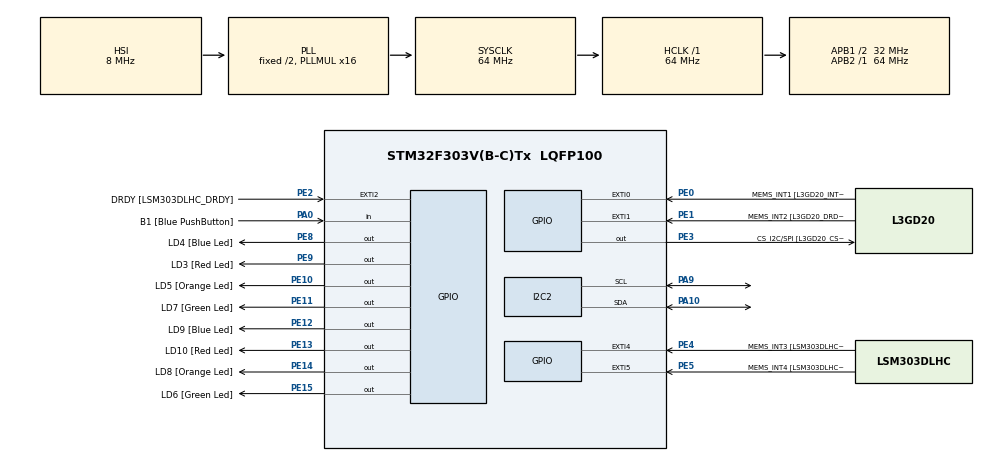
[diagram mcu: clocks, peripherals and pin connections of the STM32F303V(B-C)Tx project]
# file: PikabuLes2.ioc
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ADC1.Channel-0\#ChannelRegularConversion=ADC_CHANNEL_VREFINT
ADC1.ClockPrescaler=ADC_CLOCK_ASYNC_DIV1
ADC1.ContinuousConvMode=ENABLE
ADC1.DMAContinuousRequests=DISABLE
ADC1.DataAlign=ADC_DATAALIGN_RIGHT
ADC1.DiscontinuousConvMode=DISABLE
ADC1.EOCSelection=ADC_EOC_SINGLE_CONV
ADC1.EnableAnalogWatchDog1=false
ADC1.EnableAnalogWatchDog2=false
ADC1.EnableAnalogWatchDog3=false
ADC1.EnableInjectedConversion=DISABLE
ADC1.EnableRegularConversion=ENABLE
ADC1.ExternalTrigConv=ADC_SOFTWARE_START
ADC1.ExternalTrigConvEdge=ADC_EXTERNALTRIGCONVEDGE_NONE
ADC1.LowPowerAutoWait=DISABLE
ADC1.NbrOfConversion=1
ADC1.NbrOfConversionFlag=1
ADC1.Offset-0\#ChannelRegularConversion=0
ADC1.OffsetNumber-0\#ChannelRegularConversion=ADC_OFFSET_NONE
ADC1.Overrun=ADC_OVR_DATA_OVERWRITTEN
ADC1.Rank-0\#ChannelRegularConversion=1
ADC1.Resolution=ADC_RESOLUTION_12B
ADC1.SamplingTime-0\#ChannelRegularConversion=ADC_SAMPLETIME_61CYCLES_5
ADC1.ScanConvMode=ADC_SCAN_DISABLE
ADC1.master=1
Dma.ADC1.0.Direction=DMA_PERIPH_TO_MEMORY
Dma.ADC1.0.Instance=DMA1_Channel1
Dma.ADC1.0.MemDataAlignment=DMA_MDATAALIGN_HALFWORD
Dma.ADC1.0.MemInc=DMA_MINC_ENABLE
Dma.ADC1.0.Mode=DMA_CIRCULAR
Dma.ADC1.0.PeriphDataAlignment=DMA_PDATAALIGN_HALFWORD
Dma.ADC1.0.PeriphInc=DMA_PINC_DISABLE
Dma.ADC1.0.Priority=DMA_PRIORITY_MEDIUM
Dma.I2C2_RX.2.Direction=DMA_PERIPH_TO_MEMORY
Dma.I2C2_RX.2.Instance=DMA1_Channel5
Dma.I2C2_RX.2.MemDataAlignment=DMA_MDATAALIGN_BYTE
Dma.I2C2_RX.2.MemInc=DMA_MINC_ENABLE
Dma.I2C2_RX.2.Mode=DMA_NORMAL
Dma.I2C2_RX.2.PeriphDataAlignment=DMA_PDATAALIGN_BYTE
Dma.I2C2_RX.2.PeriphInc=DMA_PINC_DISABLE
Dma.I2C2_RX.2.Priority=DMA_PRIORITY_LOW
Dma.I2C2_TX.1.Direction=DMA_MEMORY_TO_PERIPH
Dma.I2C2_TX.1.Instance=DMA1_Channel4
Dma.I2C2_TX.1.MemDataAlignment=DMA_MDATAALIGN_BYTE
Dma.I2C2_TX.1.MemInc=DMA_MINC_ENABLE
Dma.I2C2_TX.1.Mode=DMA_NORMAL
Dma.I2C2_TX.1.PeriphDataAlignment=DMA_PDATAALIGN_BYTE
Dma.I2C2_TX.1.PeriphInc=DMA_PINC_DISABLE
Dma.I2C2_TX.1.Priority=DMA_PRIORITY_LOW
Dma.Request0=ADC1
Dma.Request1=I2C2_TX
Dma.Request2=I2C2_RX
FREERTOS.INCLUDE_vTaskDelayUntil=1
FREERTOS.Tasks01=defaultTask,0,128,StartDefaultTask,Default,NULL,Dynamic,NULL,NULL;lcdTask,1,128,StartLcdTask,Default,NULL,Dynamic,NULL,NULL
FREERTOS.configTOTAL_HEAP_SIZE=4096
Mcu.Family=STM32F3
Mcu.Name=STM32F303V(B-C)Tx
Mcu.Package=LQFP100
NVIC.DMA1_Channel1_IRQn=true\:5\:0\:false\:false\:true\:true\:false
NVIC.DMA1_Channel4_IRQn=true\:0\:0\:false\:false\:true\:false\:false
NVIC.DMA1_Channel5_IRQn=true\:0\:0\:false\:false\:true\:false\:false
NVIC.I2C2_ER_IRQn=true\:0\:0\:false\:false\:true\:false\:true
NVIC.I2C2_EV_IRQn=true\:0\:0\:false\:false\:true\:false\:true
NVIC.PriorityGroup=NVIC_PRIORITYGROUP_4
NVIC.TIM1_TRG_COM_TIM17_IRQn=true\:0\:0\:false\:false\:true\:false\:false
NVIC.TimeBase=TIM1_TRG_COM_TIM17_IRQn
NVIC.TimeBaseIP=TIM17
PA0.GPIO_Label=B1 [Blue PushButton]
PA0.GPIO_Mode=GPIO_MODE_INPUT
PA0.GPIO_PuPd=GPIO_NOPULL
PA0.Signal=GPIO_Input
PA10.Mode=I2C
PA10.Signal=I2C2_SDA
PA11.GPIO_Label=DM
PA11.Signal=USB_DM
PA12.GPIO_Label=DP
PA12.Signal=USB_DP
PA13.GPIO_Label=SWDIO
PA13.Mode=Trace_Asynchronous_SW
PA13.Signal=SYS_JTMS-SWDIO
PA14.GPIO_Label=SWCLK
PA14.Mode=Trace_Asynchronous_SW
PA14.Signal=SYS_JTCK-SWCLK
PA5.GPIO_Label=SPI1_SCK [L3GD20_SCL/SPC]
PA5.GPIO_Mode=GPIO_MODE_AF_PP
PA5.GPIO_PuPd=GPIO_NOPULL
PA5.GPIO_Speed=GPIO_SPEED_FREQ_LOW
PA5.Signal=SPI1_SCK
PA6.GPIO_Label=SPI1_MISO [L3GD20_SA0/SDO]
PA6.GPIO_Mode=GPIO_MODE_AF_PP
PA6.GPIO_PuPd=GPIO_NOPULL
PA6.GPIO_Speed=GPIO_SPEED_FREQ_LOW
PA6.Signal=SPI1_MISO
PA7.GPIO_Label=SPI1_MISO [L3GD20_SDA/SDI/SDO]
PA7.GPIO_Mode=GPIO_MODE_AF_PP
PA7.GPIO_PuPd=GPIO_NOPULL
PA7.GPIO_Speed=GPIO_SPEED_FREQ_LOW
PA7.Signal=SPI1_MOSI
PA9.Mode=I2C
PA9.Signal=I2C2_SCL
PB3.GPIO_Label=SWO
PB3.Mode=Trace_Asynchronous_SW
PB3.Signal=SYS_JTDO-TRACESWO
PB6.GPIO_FM6=__NULL
PB6.GPIO_Label=I2C1_SCL [LSM303DLHC_SCL]
PB6.GPIO_Mode=GPIO_MODE_AF_OD
PB6.GPIO_PuPd=GPIO_NOPULL
PB6.GPIO_Speed=GPIO_SPEED_FREQ_LOW
PB6.Signal=I2C1_SCL
PB7.GPIO_FM7=__NULL
PB7.GPIO_Label=I2C1_SDA [LSM303DLHC_SDA]
PB7.GPIO_Mode=GPIO_MODE_AF_OD
PB7.GPIO_PuPd=GPIO_NOPULL
PB7.GPIO_Speed=GPIO_SPEED_FREQ_LOW
PB7.Signal=I2C1_SDA
PC14-OSC32_IN.GPIO_Label=OSC32_IN
PC14-OSC32_IN.Signal=RCC_OSC32_IN
PC15-OSC32_OUT.GPIO_Label=OSC32_OUT
PC15-OSC32_OUT.Signal=RCC_OSC32_OUT
PE0.GPIO_Label=MEMS_INT1 [L3GD20_INT1]
PE0.GPIO_ModeDefaultEXTI=GPIO_MODE_EVT_RISING
PE0.GPIO_PuPd=GPIO_NOPULL
PE0.Signal=GPXTI0
PE1.GPIO_Label=MEMS_INT2 [L3GD20_DRDY/INT2]
PE1.GPIO_ModeDefaultEXTI=GPIO_MODE_EVT_RISING
PE1.GPIO_PuPd=GPIO_NOPULL
PE1.Signal=GPXTI1
PE10.GPIO_Label=LD5 [Orange Led]
PE10.GPIO_ModeDefaultOutputPP=GPIO_MODE_OUTPUT_PP
PE10.GPIO_PuPd=GPIO_NOPULL
PE10.GPIO_Speed=GPIO_SPEED_FREQ_LOW
PE10.Signal=GPIO_Output
PE11.GPIO_Label=LD7 [Green Led]
PE11.GPIO_ModeDefaultOutputPP=GPIO_MODE_OUTPUT_PP
PE11.GPIO_PuPd=GPIO_NOPULL
PE11.GPIO_Speed=GPIO_SPEED_FREQ_LOW
PE11.Signal=GPIO_Output
PE12.GPIO_Label=LD9 [Blue Led]
PE12.GPIO_ModeDefaultOutputPP=GPIO_MODE_OUTPUT_PP
PE12.GPIO_PuPd=GPIO_NOPULL
PE12.GPIO_Speed=GPIO_SPEED_FREQ_LOW
PE12.Signal=GPIO_Output
PE13.GPIO_Label=LD10 [Red Led]
PE13.GPIO_ModeDefaultOutputPP=GPIO_MODE_OUTPUT_PP
PE13.GPIO_PuPd=GPIO_NOPULL
PE13.GPIO_Speed=GPIO_SPEED_FREQ_LOW
PE13.Signal=GPIO_Output
PE14.GPIO_Label=LD8 [Orange Led]
PE14.GPIO_ModeDefaultOutputPP=GPIO_MODE_OUTPUT_PP
PE14.GPIO_PuPd=GPIO_NOPULL
PE14.GPIO_Speed=GPIO_SPEED_FREQ_LOW
PE14.Signal=GPIO_Output
PE15.GPIO_Label=LD6 [Green Led]
PE15.GPIO_ModeDefaultOutputPP=GPIO_MODE_OUTPUT_PP
PE15.GPIO_PuPd=GPIO_NOPULL
PE15.GPIO_Speed=GPIO_SPEED_FREQ_LOW
PE15.Signal=GPIO_Output
PE2.GPIO_Label=DRDY [LSM303DLHC_DRDY]
PE2.GPIO_ModeDefaultEXTI=GPIO_MODE_EVT_RISING
PE2.GPIO_PuPd=GPIO_NOPULL
PE2.Signal=GPXTI2
PE3.GPIO_Label=CS_I2C/SPI [L3GD20_CS_I2C/SPI]
PE3.GPIO_ModeDefaultOutputPP=GPIO_MODE_OUTPUT_PP
PE3.GPIO_PuPd=GPIO_NOPULL
PE3.GPIO_Speed=GPIO_SPEED_FREQ_LOW
PE3.Signal=GPIO_Output
PE4.GPIO_Label=MEMS_INT3 [LSM303DLHC_INT1]
PE4.GPIO_ModeDefaultEXTI=GPIO_MODE_EVT_RISING
PE4.GPIO_PuPd=GPIO_NOPULL
PE4.Signal=GPXTI4
PE5.GPIO_Label=MEMS_INT4 [LSM303DLHC_INT2]
PE5.GPIO_ModeDefaultEXTI=GPIO_MODE_EVT_RISING
PE5.GPIO_PuPd=GPIO_NOPULL
PE5.Signal=GPXTI5
PE8.GPIO_Label=LD4 [Blue Led]
PE8.GPIO_ModeDefaultOutputPP=GPIO_MODE_OUTPUT_PP
PE8.GPIO_PuPd=GPIO_NOPULL
PE8.GPIO_Speed=GPIO_SPEED_FREQ_LOW
PE8.Signal=GPIO_Output
PE9.GPIO_Label=LD3 [Red Led]
PE9.GPIO_ModeDefaultOutputPP=GPIO_MODE_OUTPUT_PP
PE9.GPIO_PuPd=GPIO_NOPULL
PE9.GPIO_Speed=GPIO_SPEED_FREQ_LOW
PE9.Signal=GPIO_Output
PF0-OSC_IN.GPIO_Label=OSC_IN
PF0-OSC_IN.Signal=RCC_OSC_IN
PF1-OSC_OUT.GPIO_Label=OSC_OUT
PF1-OSC_OUT.Signal=RCC_OSC_OUT
ProjectManager.HeapSize=0x200
ProjectManager.StackSize=0x400
ProjectManager.TargetToolchain=SW4STM32
RCC.AHBFreq_Value=64000000
RCC.APB1CLKDivider=RCC_HCLK_DIV2
RCC.APB1Freq_Value=32000000
RCC.APB1TimFreq_Value=64000000
RCC.APB2Freq_Value=64000000
RCC.APB2TimFreq_Value=64000000
RCC.CortexFreq_Value=64000000
RCC.HCLKFreq_Value=64000000
RCC.HSE_VALUE=8000000
RCC.HSI_VALUE=8000000
RCC.LSE_VALUE=32768
RCC.PLLMUL=RCC_PLL_MUL16
RCC.SYSCLKFreq_VALUE=64000000
RCC.SYSCLKSourceVirtual=RCC_SYSCLKSOURCE_PLLCLK
RCC.USBFreq_Value=64000000
VP_ADC1_Vref_Input.Mode=IN-Vrefint
VP_FREERTOS_VS_ENABLE.Mode=Enabled
VP_SYS_VS_tim17.Mode=TIM17
board=STM32F3DISCOVERY

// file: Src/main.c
/**
  ******************************************************************************
  * File Name          : main.c
  * Description        : Main program body
  ******************************************************************************
  * This notice applies to any and all portions of this file
  * that are not between comment pairs USER CODE BEGIN and
  * USER CODE END. Other portions of this file, whether
  * inserted by the user or by software development tools
  * are owned by their respective copyright owners.
  *
  * Copyright (c) 2017 STMicroelectronics International N.V.
  * All rights reserved.
  *
  * Redistribution and use in source and binary forms, with or without
  * modification, are permitted, provided that the following conditions are met:
  *
  * 1. Redistribution of source code must retain the above copyright notice,
  *    this list of conditions and the following disclaimer.
  * 2. Redistributions in binary form must reproduce the above copyright notice,
  *    this list of conditions and the following disclaimer in the documentation
  *    and/or other materials provided with the distribution.
  * 3. Neither the name of STMicroelectronics nor the names of other
  *    contributors to this software may be used to endorse or promote products
  *    derived from this software without specific written permission.
  * 4. This software, including modifications and/or derivative works of this
  *    software, must execute solely and exclusively on microcontroller or
  *    microprocessor devices manufactured by or for STMicroelectronics.
  * 5. Redistribution and use of this software other than as permitted under
  *    this license is void and will automatically terminate your rights under
  *    this license.
  *
  * THIS SOFTWARE IS PROVIDED BY STMICROELECTRONICS AND CONTRIBUTORS "AS IS"
  * AND ANY EXPRESS, IMPLIED OR STATUTORY WARRANTIES, INCLUDING, BUT NOT
  * LIMITED TO, THE IMPLIED WARRANTIES OF MERCHANTABILITY, FITNESS FOR A
  * PARTICULAR PURPOSE AND NON-INFRINGEMENT OF THIRD PARTY INTELLECTUAL PROPERTY
  * RIGHTS ARE DISCLAIMED TO THE FULLEST EXTENT PERMITTED BY LAW. IN NO EVENT
  * SHALL STMICROELECTRONICS OR CONTRIBUTORS BE LIABLE FOR ANY DIRECT, INDIRECT,
  * INCIDENTAL, SPECIAL, EXEMPLARY, OR CONSEQUENTIAL DAMAGES (INCLUDING, BUT NOT
  * LIMITED TO, PROCUREMENT OF SUBSTITUTE GOODS OR SERVICES; LOSS OF USE, DATA,
  * OR PROFITS; OR BUSINESS INTERRUPTION) HOWEVER CAUSED AND ON ANY THEORY OF
  * LIABILITY, WHETHER IN CONTRACT, STRICT LIABILITY, OR TORT (INCLUDING
  * NEGLIGENCE OR OTHERWISE) ARISING IN ANY WAY OUT OF THE USE OF THIS SOFTWARE,
  * EVEN IF ADVISED OF THE POSSIBILITY OF SUCH DAMAGE.
  *
  ******************************************************************************
  */

#include "main.h"
#include "stm32f3xx_hal.h"
#include "cmsis_os.h"

/* USER CODE BEGIN Includes */
#include <string.h>
#include <math.h>
#include "lcd_hd44780_i2c.h"
/* USER CODE END Includes */

ADC_HandleTypeDef hadc1;
DMA_HandleTypeDef hdma_adc1;

I2C_HandleTypeDef hi2c2;
DMA_HandleTypeDef hdma_i2c2_tx;
DMA_HandleTypeDef hdma_i2c2_rx;

osThreadId defaultTaskHandle;
osThreadId lcdTaskHandle;

/* USER CODE BEGIN PV */
uint8_t symD[8]   = { 0x07, 0x09, 0x09, 0x09, 0x09, 0x1F, 0x11 }; // Д
uint8_t symZH[8]  = { 0x11, 0x15, 0x15, 0x0E, 0x15, 0x15, 0x11 }; // Ж
uint8_t symI[8]   = { 0x11, 0x11, 0x13, 0x15, 0x19, 0x11, 0x11 }; // И
uint8_t symL[8]   = { 0x0F, 0x09, 0x09, 0x09, 0x09, 0x11, 0x11 }; // Л
uint8_t symP[8]   = { 0x1F, 0x11, 0x11, 0x11, 0x11, 0x11, 0x11 }; // П
uint8_t symSHi[8] = { 0x10, 0x15, 0x15, 0x15, 0x15, 0x1F, 0x03 }; // Щ
uint8_t symJU[8]  = { 0x12, 0x15, 0x15, 0x1D, 0x15, 0x15, 0x12 }; // Ю
uint8_t symJA[8]  = { 0x0F, 0x11, 0x11, 0x0F, 0x05, 0x09, 0x11 }; // Я

/* ADC */
__IO uint16_t ADC1_Values[1];

// Параметры ADC из даташита
float Vrefint = 1.23;

// Переменная, где будем хранить значение VRef
float Vref = 0.0;

/* USER CODE END PV */

void SystemClock_Config(void);
static void MX_GPIO_Init(void);
static void MX_DMA_Init(void);
static void MX_I2C2_Init(void);
static void MX_ADC1_Init(void);
void StartDefaultTask(void const * argument);
void StartLcdTask(void const * argument);

/* USER CODE BEGIN PFP */
/* Private function prototypes -----------------------------------------------*/

/* USER CODE END PFP */

int main(void) {

    /* MCU Configuration----------------------------------------------------------*/

    /* Reset of all peripherals, Initializes the Flash interface and the Systick. */
    HAL_Init();

    /* Configure the system clock */
    SystemClock_Config();

    /* Initialize all configured peripherals */
    MX_GPIO_Init();
    MX_DMA_Init();
    MX_I2C2_Init();
    MX_ADC1_Init();

    /* Create the thread(s) */
    /* definition and creation of defaultTask */
    osThreadDef(defaultTask, StartDefaultTask, osPriorityNormal, 0, 128);
    defaultTaskHandle = osThreadCreate(osThread(defaultTask), NULL);

    /* definition and creation of lcdTask */
    osThreadDef(lcdTask, StartLcdTask, osPriorityAboveNormal, 0, 128);
    lcdTaskHandle = osThreadCreate(osThread(lcdTask), NULL);

    /* Start scheduler */
    osKernelStart();

    /* We should never get here as control is now taken by the scheduler */

    /* Infinite loop */
    while (1) {

    }

}

/** System Clock Configuration
*/
void SystemClock_Config(void) {

    RCC_OscInitTypeDef RCC_OscInitStruct;
    RCC_ClkInitTypeDef RCC_ClkInitStruct;
    RCC_PeriphCLKInitTypeDef PeriphClkInit;

    /**Initializes the CPU, AHB and APB busses clocks
    */
    RCC_OscInitStruct.OscillatorType = RCC_OSCILLATORTYPE_HSI;
    RCC_OscInitStruct.HSIState = RCC_HSI_ON;
    RCC_OscInitStruct.HSICalibrationValue = 16;
    RCC_OscInitStruct.PLL.PLLState = RCC_PLL_ON;
    RCC_OscInitStruct.PLL.PLLSource = RCC_PLLSOURCE_HSI;
    RCC_OscInitStruct.PLL.PLLMUL = RCC_PLL_MUL16;

    if (HAL_RCC_OscConfig(&RCC_OscInitStruct) != HAL_OK) {
        _Error_Handler(__FILE__, __LINE__);
    }

    /**Initializes the CPU, AHB and APB busses clocks
    */
    RCC_ClkInitStruct.ClockType = RCC_CLOCKTYPE_HCLK | RCC_CLOCKTYPE_SYSCLK
                                  | RCC_CLOCKTYPE_PCLK1 | RCC_CLOCKTYPE_PCLK2;
    RCC_ClkInitStruct.SYSCLKSource = RCC_SYSCLKSOURCE_PLLCLK;
    RCC_ClkInitStruct.AHBCLKDivider = RCC_SYSCLK_DIV1;
    RCC_ClkInitStruct.APB1CLKDivider = RCC_HCLK_DIV2;
    RCC_ClkInitStruct.APB2CLKDivider = RCC_HCLK_DIV1;

    if (HAL_RCC_ClockConfig(&RCC_ClkInitStruct, FLASH_LATENCY_2) != HAL_OK) {
        _Error_Handler(__FILE__, __LINE__);
    }

    PeriphClkInit.PeriphClockSelection = RCC_PERIPHCLK_I2C2 | RCC_PERIPHCLK_ADC12;
    PeriphClkInit.Adc12ClockSelection = RCC_ADC12PLLCLK_DIV1;
    PeriphClkInit.I2c2ClockSelection = RCC_I2C2CLKSOURCE_HSI;

    if (HAL_RCCEx_PeriphCLKConfig(&PeriphClkInit) != HAL_OK) {
        _Error_Handler(__FILE__, __LINE__);
    }

    /**Configure the Systick interrupt time
    */
    HAL_SYSTICK_Config(HAL_RCC_GetHCLKFreq() / 1000);

    /**Configure the Systick
    */
    HAL_SYSTICK_CLKSourceConfig(SYSTICK_CLKSOURCE_HCLK);

    /* SysTick_IRQn interrupt configuration */
    HAL_NVIC_SetPriority(SysTick_IRQn, 15, 0);
}

/* ADC1 init function */
static void MX_ADC1_Init(void) {

    ADC_MultiModeTypeDef multimode;
    ADC_ChannelConfTypeDef sConfig;

    /**Common config
    */
    hadc1.Instance = ADC1;
    hadc1.Init.ClockPrescaler = ADC_CLOCK_ASYNC_DIV1;
    hadc1.Init.Resolution = ADC_RESOLUTION_12B;
    hadc1.Init.ScanConvMode = ADC_SCAN_DISABLE;
    hadc1.Init.ContinuousConvMode = ENABLE;
    hadc1.Init.DiscontinuousConvMode = DISABLE;
    hadc1.Init.ExternalTrigConvEdge = ADC_EXTERNALTRIGCONVEDGE_NONE;
    hadc1.Init.ExternalTrigConv = ADC_SOFTWARE_START;
    hadc1.Init.DataAlign = ADC_DATAALIGN_RIGHT;
    hadc1.Init.NbrOfConversion = 1;
    hadc1.Init.DMAContinuousRequests = DISABLE;
    hadc1.Init.EOCSelection = ADC_EOC_SINGLE_CONV;
    hadc1.Init.LowPowerAutoWait = DISABLE;
    hadc1.Init.Overrun = ADC_OVR_DATA_OVERWRITTEN;

    if (HAL_ADC_Init(&hadc1) != HAL_OK) {
        _Error_Handler(__FILE__, __LINE__);
    }

    /**Configure the ADC multi-mode
    */
    multimode.Mode = ADC_MODE_INDEPENDENT;

    if (HAL_ADCEx_MultiModeConfigChannel(&hadc1, &multimode) != HAL_OK) {
        _Error_Handler(__FILE__, __LINE__);
    }

    /**Configure Regular Channel
    */
    sConfig.Channel = ADC_CHANNEL_VREFINT;
    sConfig.Rank = 1;
    sConfig.SingleDiff = ADC_SINGLE_ENDED;
    sConfig.SamplingTime = ADC_SAMPLETIME_61CYCLES_5;
    sConfig.OffsetNumber = ADC_OFFSET_NONE;
    sConfig.Offset = 0;

    if (HAL_ADC_ConfigChannel(&hadc1, &sConfig) != HAL_OK) {
        _Error_Handler(__FILE__, __LINE__);
    }

}

/* I2C2 init function */
static void MX_I2C2_Init(void) {

    hi2c2.Instance = I2C2;
    hi2c2.Init.Timing = 0x2000090E;
    hi2c2.Init.OwnAddress1 = 0;
    hi2c2.Init.AddressingMode = I2C_ADDRESSINGMODE_7BIT;
    hi2c2.Init.DualAddressMode = I2C_DUALADDRESS_DISABLE;
    hi2c2.Init.OwnAddress2 = 0;
    hi2c2.Init.OwnAddress2Masks = I2C_OA2_NOMASK;
    hi2c2.Init.GeneralCallMode = I2C_GENERALCALL_DISABLE;
    hi2c2.Init.NoStretchMode = I2C_NOSTRETCH_DISABLE;

    if (HAL_I2C_Init(&hi2c2) != HAL_OK) {
        _Error_Handler(__FILE__, __LINE__);
    }

    /**Configure Analogue filter
    */
    if (HAL_I2CEx_ConfigAnalogFilter(&hi2c2, I2C_ANALOGFILTER_ENABLE) != HAL_OK) {
        _Error_Handler(__FILE__, __LINE__);
    }

    /**Configure Digital filter
    */
    if (HAL_I2CEx_ConfigDigitalFilter(&hi2c2, 0) != HAL_OK) {
        _Error_Handler(__FILE__, __LINE__);
    }

}

static void MX_DMA_Init(void) {
    /* DMA controller clock enable */
    __HAL_RCC_DMA1_CLK_ENABLE();

    /* DMA interrupt init */
    /* DMA1_Channel1_IRQn interrupt configuration */
    HAL_NVIC_SetPriority(DMA1_Channel1_IRQn, 5, 0);
    HAL_NVIC_EnableIRQ(DMA1_Channel1_IRQn);
    /* DMA1_Channel4_IRQn interrupt configuration */
    HAL_NVIC_SetPriority(DMA1_Channel4_IRQn, 0, 0);
    HAL_NVIC_EnableIRQ(DMA1_Channel4_IRQn);
    /* DMA1_Channel5_IRQn interrupt configuration */
    HAL_NVIC_SetPriority(DMA1_Channel5_IRQn, 0, 0);
    HAL_NVIC_EnableIRQ(DMA1_Channel5_IRQn);

}

/** Configure pins as
        * Analog
        * Input
        * Output
        * EVENT_OUT
        * EXTI
     PA5   ------> SPI1_SCK
     PA6   ------> SPI1_MISO
     PA7   ------> SPI1_MOSI
     PA11   ------> USB_DM
     PA12   ------> USB_DP
     PB6   ------> I2C1_SCL
     PB7   ------> I2C1_SDA
*/
static void MX_GPIO_Init(void) {

    GPIO_InitTypeDef GPIO_InitStruct;

    /* GPIO Ports Clock Enable */
    __HAL_RCC_GPIOE_CLK_ENABLE();
    __HAL_RCC_GPIOC_CLK_ENABLE();
    __HAL_RCC_GPIOF_CLK_ENABLE();
    __HAL_RCC_GPIOA_CLK_ENABLE();
    __HAL_RCC_GPIOB_CLK_ENABLE();

    /*Configure GPIO pin Output Level */
    HAL_GPIO_WritePin(GPIOE, CS_I2C_SPI_Pin | LD4_Pin | LD3_Pin | LD5_Pin
                      | LD7_Pin | LD9_Pin | LD10_Pin | LD8_Pin
                      | LD6_Pin, GPIO_PIN_RESET);

    /*Configure GPIO pins : DRDY_Pin MEMS_INT3_Pin MEMS_INT4_Pin MEMS_INT1_Pin
                             MEMS_INT2_Pin */
    GPIO_InitStruct.Pin = DRDY_Pin | MEMS_INT3_Pin | MEMS_INT4_Pin | MEMS_INT1_Pin
                          | MEMS_INT2_Pin;
    GPIO_InitStruct.Mode = GPIO_MODE_EVT_RISING;
    GPIO_InitStruct.Pull = GPIO_NOPULL;
    HAL_GPIO_Init(GPIOE, &GPIO_InitStruct);

    /*Configure GPIO pins : CS_I2C_SPI_Pin LD4_Pin LD3_Pin LD5_Pin
                             LD7_Pin LD9_Pin LD10_Pin LD8_Pin
                             LD6_Pin */
    GPIO_InitStruct.Pin = CS_I2C_SPI_Pin | LD4_Pin | LD3_Pin | LD5_Pin
                          | LD7_Pin | LD9_Pin | LD10_Pin | LD8_Pin
                          | LD6_Pin;
    GPIO_InitStruct.Mode = GPIO_MODE_OUTPUT_PP;
    GPIO_InitStruct.Pull = GPIO_NOPULL;
    GPIO_InitStruct.Speed = GPIO_SPEED_FREQ_LOW;
    HAL_GPIO_Init(GPIOE, &GPIO_InitStruct);

    /*Configure GPIO pin : B1_Pin */
    GPIO_InitStruct.Pin = B1_Pin;
    GPIO_InitStruct.Mode = GPIO_MODE_INPUT;
    GPIO_InitStruct.Pull = GPIO_NOPULL;
    HAL_GPIO_Init(B1_GPIO_Port, &GPIO_InitStruct);

    /*Configure GPIO pins : SPI1_SCK_Pin SPI1_MISO_Pin SPI1_MISOA7_Pin */
    GPIO_InitStruct.Pin = SPI1_SCK_Pin | SPI1_MISO_Pin | SPI1_MISOA7_Pin;
    GPIO_InitStruct.Mode = GPIO_MODE_AF_PP;
    GPIO_InitStruct.Pull = GPIO_NOPULL;
    GPIO_InitStruct.Speed = GPIO_SPEED_FREQ_LOW;
    GPIO_InitStruct.Alternate = GPIO_AF5_SPI1;
    HAL_GPIO_Init(GPIOA, &GPIO_InitStruct);

    /*Configure GPIO pins : DM_Pin DP_Pin */
    GPIO_InitStruct.Pin = DM_Pin | DP_Pin;
    GPIO_InitStruct.Mode = GPIO_MODE_AF_PP;
    GPIO_InitStruct.Pull = GPIO_NOPULL;
    GPIO_InitStruct.Speed = GPIO_SPEED_FREQ_HIGH;
    GPIO_InitStruct.Alternate = GPIO_AF14_USB;
    HAL_GPIO_Init(GPIOA, &GPIO_InitStruct);

    /*Configure GPIO pins : I2C1_SCL_Pin I2C1_SDA_Pin */
    GPIO_InitStruct.Pin = I2C1_SCL_Pin | I2C1_SDA_Pin;
    GPIO_InitStruct.Mode = GPIO_MODE_AF_OD;
    GPIO_InitStruct.Pull = GPIO_PULLUP;
    GPIO_InitStruct.Speed = GPIO_SPEED_FREQ_LOW;
    GPIO_InitStruct.Alternate = GPIO_AF4_I2C1;
    HAL_GPIO_Init(GPIOB, &GPIO_InitStruct);

}

/* StartDefaultTask function */
void StartDefaultTask(void const * argument) {

    /* USER CODE BEGIN 5 */
    TickType_t xLastWakeTime;
    const TickType_t xFrequency = 2000;  // Как часто запускать задачу
    xLastWakeTime = xTaskGetTickCount();

    for (;;) {
        /**
         * Каждые 2 секунды будем снимать показания ADC Vref
         *
         * Делаю дубово. Правильнее будет использовать прерывания
         * и уведомления задачи для пересчёта значений.
         *
         * Но сейчас просто показываю саму возможность.
         */
        if (HAL_ADC_Start_DMA(&hadc1, (uint32_t *)ADC1_Values, 1) != HAL_OK) {
            _Error_Handler(__FILE__, __LINE__);
        }

        // При ручном запуске ADC имеет смысл делать
        // небольшую паузу. Можно проверять регистры
        // или ловить прерывания, но сейчас нам это не нужно.
        vTaskDelay(25);

        HAL_ADC_Stop_DMA(&hadc1);

        Vref = (Vrefint * 4096.0f) / ADC1_Values[0];

        // Ждем столько, сколько надо до 2-х секунд
        vTaskDelayUntil(&xLastWakeTime, xFrequency);
    }

    /* USER CODE END 5 */
}

/* StartLcdTask function */
void StartLcdTask(void const * argument) {
    /* USER CODE BEGIN StartLcdTask */
    static double vrefInt, vrefFract;

    lcdInit(&hi2c2, (uint8_t)0x27, (uint8_t)4, (uint8_t)20);

    /* Загрузим дополнительные символы */
    lcdLoadCustomChar(0, (uint8_t *)symD);
    lcdLoadCustomChar(1, (uint8_t *)symZH);
    lcdLoadCustomChar(2, (uint8_t *)symI);
    lcdLoadCustomChar(3, (uint8_t *)symL);
    lcdLoadCustomChar(4, (uint8_t *)symP);
    lcdLoadCustomChar(5, (uint8_t *)symSHi);
    lcdLoadCustomChar(6, (uint8_t *)symJU);
    lcdLoadCustomChar(7, (uint8_t *)symJA);

    /* Выведем предопределённую строку */
    static const char helloWorld[] = "Hello, world!";
    lcdSetCursorPosition(3, 0);
    lcdPrintStr((uint8_t*)helloWorld, strlen(helloWorld));

    /* Выведем строку по формату */

    // Буффер, куда будем записывать генерируемый текст
    // Размер буффера - макс. количество символов в строке + 1 на терминальный символ \0
    char buffer[21];

    /**
     * В отличие от sprintf, snprintf() в конце строки добавляет символ конца строки \0
     * и можно использовать функцию strlen() для подсчета длины строки.
     */
    snprintf(buffer, (size_t)21, "Hello, %s", "Pikabu!");  // Будет "Hellow, Pikabu!"

    lcdSetCursorPosition(3, 1);
    lcdPrintStr((uint8_t*)buffer, strlen(buffer));

    /* Ну и выведем просто две строки текста "в лоб" */
    lcdSetCursorPosition(1, 2);
    lcdPrintStr((uint8_t*)"LCD Display example", 19);

    lcdSetCursorPosition(2, 3);
    lcdPrintStr((uint8_t*)"by Comrade Bulkin", 17);

    vTaskDelay(1000);

    lcdDisplayClear();

    TickType_t xLastWakeTime;
    const TickType_t xFrequency = 1000;  // Дисплей обновляем раз в секунду
    xLastWakeTime = xTaskGetTickCount();

    for (;;) {
        /**
         * Выведем на экран напряжение питания МК
         *
         * К сожалению, SW4 просто так не хочет
         * форматировать строку с float. Надо менять
         * опции компляции, но тогда слетает debug.
         *
         * Старые версии SW4 не имели такой проблемы.
         * Поэтому сейчас сделаю вывод целой и дробной части
         * отдельно. Когда попрявят, исправлю и тут.
         *
         * Кстати, в Keil всё отлично работает.
         */

        vrefFract = modf(Vref, &vrefInt);

        lcdSetCursorPosition(4, 1);
        snprintf(buffer, (size_t)21, "VRef = %i.%i", lroundf(vrefInt), lroundf(vrefFract * 1000));
        lcdPrintStr((uint8_t*)buffer, strlen(buffer));

        vTaskDelayUntil(&xLastWakeTime, xFrequency);
    }

    /* USER CODE END StartLcdTask */
}

void HAL_TIM_PeriodElapsedCallback(TIM_HandleTypeDef *htim) {
    if (htim->Instance == TIM17) {
        HAL_IncTick();
    }

}

void _Error_Handler(char * file, int line) {
    while (1) {
    }
}

/************************ (C) COPYRIGHT STMicroelectronics *****END OF FILE****/
